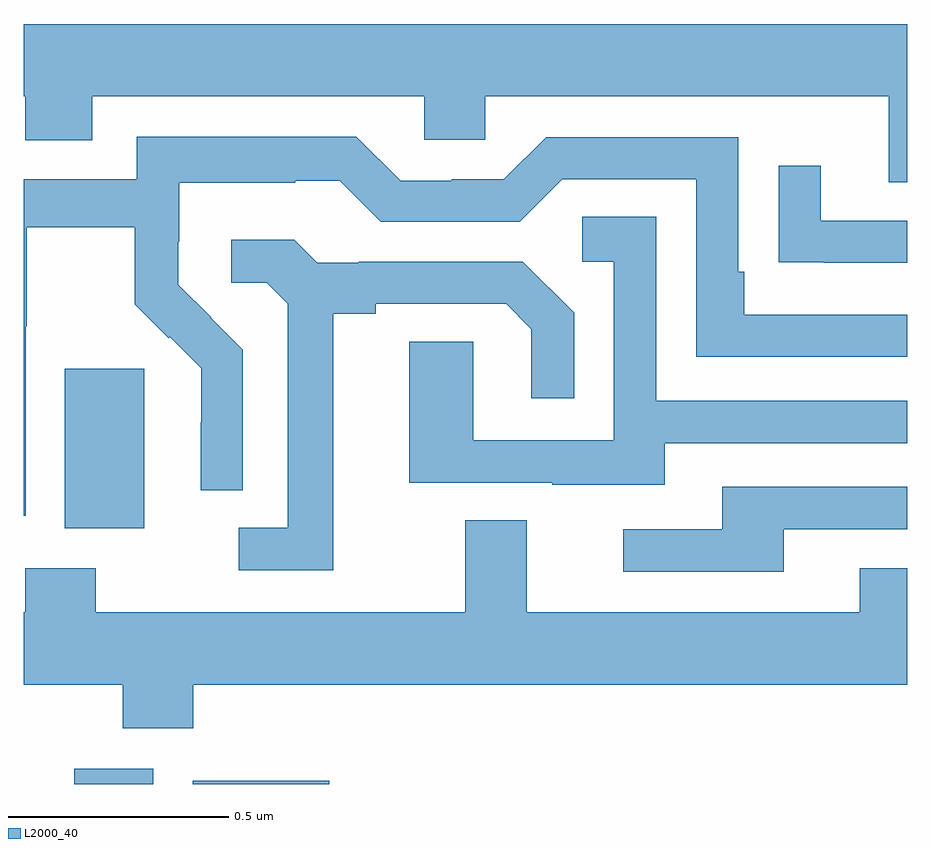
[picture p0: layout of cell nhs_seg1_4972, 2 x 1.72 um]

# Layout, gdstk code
import gdstk
lib = gdstk.Library(unit=1e-6, precision=1e-09)
def R(c, l, rs):  # rectangles x0, y0, x1, y1
    for r in rs: c.add(gdstk.rectangle(r[:2], r[2:], *l))
def P(c, l, *ps):  # polygons
    for p in ps: c.add(gdstk.Polygon(p, *l))
L2000_40 = (2000, 40)

nhs_seg1_4972 = lib.new_cell('nhs_seg1_4972')
R(nhs_seg1_4972, L2000_40, [(173.114,526.199,173.293,526.234), (173.382,526.199,173.692,526.206), (173.093,526.778,173.272,527.139)])
P(nhs_seg1_4972, L2000_40, [(175,527.92),(173,527.92),(173,527.756),(173.003,527.756),(173.003,527.657),(173.155,527.657),(173.155,527.756),(173.907,527.756),(173.907,527.658),(174.045,527.658),(174.045,527.756),(174.959,527.756),(174.959,527.562),(175,527.562)],
  [(173.004,527.236),(173.007,527.236),(173.007,527.46),(173.251,527.46),(173.251,527.285),(173.328,527.208),(173.331,527.211),(173.402,527.141),(173.402,527.018),(173.4,527.018),(173.4,526.864),(173.496,526.864),(173.496,527.182),(173.423,527.255),(173.424,527.256),(173.35,527.33),(173.35,527.427),(173.352,527.427),(173.352,527.561),(173.615,527.561),(173.615,527.565),(173.715,527.565),(173.808,527.472),(174.123,527.472),(174.219,527.568),(174.522,527.568),(174.522,527.166),(175,527.166),(175,527.262),(174.631,527.262),(174.631,527.359),(174.618,527.359),(174.618,527.664),(174.183,527.664),(174.087,527.568),(173.969,527.568),(173.969,527.565),(173.853,527.565),(173.753,527.665),(173.256,527.665),(173.256,527.568),(173,527.568),(173,526.807),(173.004,526.807)],
  [(175,527.475),(174.805,527.475),(174.805,527.599),(174.709,527.599),(174.709,527.38),(174.811,527.38),(174.811,527.379),(175,527.379)],
  [(174.451,526.971),(175,526.971),(175,527.067),(174.432,527.067),(174.432,527.483),(174.264,527.483),(174.264,527.382),(174.336,527.382),(174.336,526.977),(174.018,526.977),(174.018,527.201),(173.873,527.201),(173.873,526.881),(174.197,526.881),(174.197,526.877),(174.451,526.877)],
  [(173.701,527.264),(173.797,527.264),(173.797,527.286),(174.092,527.286),(174.149,527.229),(174.149,527.073),(174.246,527.073),(174.246,527.266),(174.13,527.382),(173.758,527.382),(173.758,527.379),(173.664,527.379),(173.612,527.431),(173.469,527.431),(173.469,527.334),(173.55,527.334),(173.597,527.287),(173.597,526.779),(173.487,526.779),(173.487,526.683),(173.701,526.683)],
  [(174.721,526.776),(175,526.776),(175,526.872),(174.581,526.872),(174.581,526.776),(174.357,526.776),(174.357,526.68),(174.721,526.68)],
  [(173.384,526.424),(175,526.424),(175,526.687),(174.893,526.687),(174.893,526.588),(174.139,526.588),(174.139,526.796),(173.999,526.796),(173.999,526.588),(173.163,526.588),(173.163,526.687),(173.003,526.687),(173.003,526.588),(173,526.588),(173,526.424),(173.224,526.424),(173.224,526.325),(173.384,526.325)])

lib.write_gds('nhs_seg1_4972.gds')
